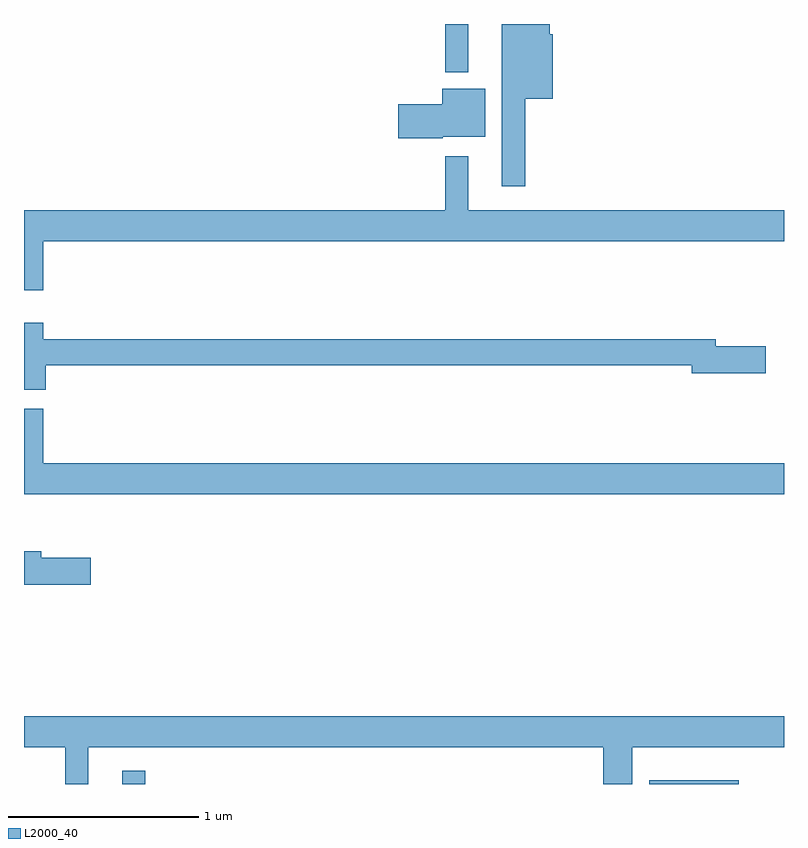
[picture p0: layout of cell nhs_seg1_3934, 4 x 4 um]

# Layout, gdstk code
import gdstk
lib = gdstk.Library(unit=1e-6, precision=1e-09)
def R(c, l, rs):  # rectangles x0, y0, x1, y1
    for r in rs: c.add(gdstk.rectangle(r[:2], r[2:], *l))
def P(c, l, *ps):  # polygons
    for p in ps: c.add(gdstk.Polygon(p, *l))
L2000_40 = (2000, 40)

nhs_seg1_3934 = lib.new_cell('nhs_seg1_3934')
R(nhs_seg1_3934, L2000_40, [(325.517,558.199,325.639,558.268), (328.292,558.199,328.762,558.22), (327.216,561.944,327.337,562.199)])
P(nhs_seg1_3934, L2000_40, [(327.637,561.806),(327.784,561.806),(327.784,562.146),(327.766,562.146),(327.766,562.199),(327.515,562.199),(327.515,561.345),(327.637,561.345)],
  [(327.204,561.605),(327.427,561.605),(327.427,561.859),(327.2,561.859),(327.2,561.776),(326.97,561.776),(326.97,561.598),(327.204,561.598)],
  [(325.1,561.056),(329,561.056),(329,561.22),(327.337,561.22),(327.337,561.502),(327.216,561.502),(327.216,561.22),(325,561.22),(325,560.799),(325.1,560.799)],
  [(325.115,560.404),(328.514,560.404),(328.514,560.362),(328.903,560.362),(328.903,560.504),(328.642,560.504),(328.642,560.54),(325.102,560.54),(325.102,560.626),(325,560.626),(325,560.274),(325.115,560.274)],
  [(329,559.888),(325.1,559.888),(325.1,560.173),(325,560.173),(325,559.724),(329,559.724)],
  [(325.351,559.389),(325.09,559.389),(325.09,559.423),(325,559.423),(325,559.247),(325.351,559.247)],
  [(325.339,558.392),(328.049,558.392),(328.049,558.199),(328.201,558.199),(328.201,558.392),(329,558.392),(329,558.556),(325,558.556),(325,558.392),(325.218,558.392),(325.218,558.199),(325.339,558.199)])

lib.write_gds('nhs_seg1_3934.gds')
